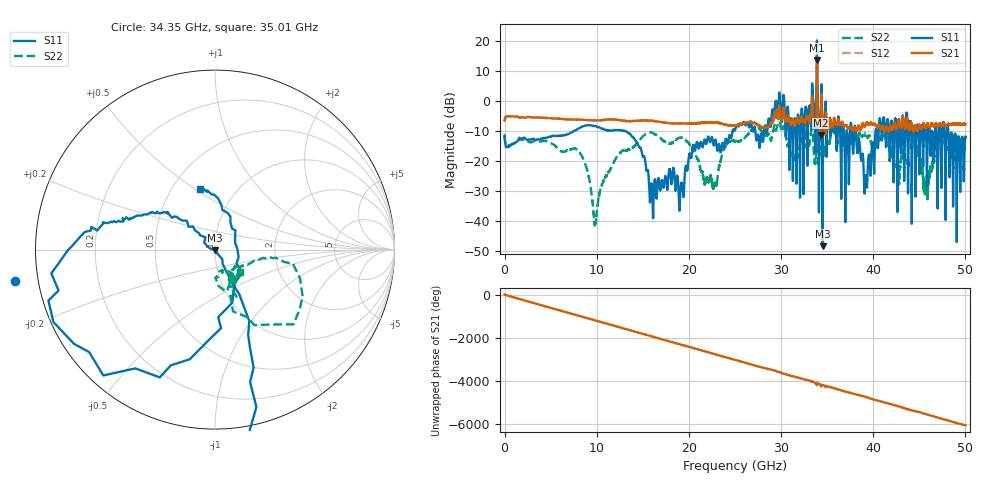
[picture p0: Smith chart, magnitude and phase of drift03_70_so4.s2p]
!Created with skrf (http://scikit-rf.org).
# Hz S RI R 50.0
!freq ReS11 ImS11 ReS21 ImS21 ReS12 ImS12 ReS22 ImS22
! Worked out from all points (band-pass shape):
!   10001 points, 300 kHz to 50 GHz, reference 50 ohm
!   highest |S21| = 13.57 dB at 33.9 GHz (marker M1); lowest = -11.3 dB at 34.32 GHz (marker M2)
!   |S21| within 3 dB of the highest: 33.89023 GHz to 33.90445 GHz (14.21 MHz wide, 0.0419 % of centre)
!   lowest |S11| = -48.3 dB at 34.5 GHz (marker M3), VSWR 1.01, Z = 50 - j0.382 ohm
!   |S11| at or under -10 dB: start of sweep to 7.485 GHz; 13.13 GHz to 24.74 GHz (11.61 GHz wide, 61.3 % of centre); 38.09 GHz to 40.25 GHz (2.159 GHz wide, 5.51 % of centre) (the widest 3 of 49)
!   |S22| runs from -41.4 to 6.0 dB; largest |S21 - S12| = 0.35
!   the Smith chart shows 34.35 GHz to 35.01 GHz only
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300000  -0.2381 -0.1236  0.4678 0.0802  0.4659 0.081  -0.2359 -0.1274
1.440291e9  0.21 0.0648  -0.5475 -0.0292  -0.5479 -0.0294  0.2114 -0.00401
2.915283e9  -0.2123 -0.0877  0.5342 0.0512  0.5347 0.0513  -0.2018 0.0401
4.415274e9  0.2058 0.1322  -0.5222 -0.0424  -0.5219 -0.0419  0.1986 -0.0873
8.33525e9  0.2887 -0.2337  0.1461 0.4661  0.1464 0.4661  -0.0727 -0.1014
9.840241e9  -0.3647 0.1253  -0.143 -0.4535  -0.1431 -0.4539  0.00878 0.00197
1.115523e10  0.3169 0.0808  -0.0433 0.4912  -0.0434 0.4911  -0.0474 0.038
1.263522e10  -0.3125 -0.0945  0.0303 -0.4743  0.0307 -0.4753  0.0765 -0.1193
1.66702e10  0.0271 0.0434  -0.3781 0.2533  -0.3783 0.2536  -0.1288 -0.22
1.787519e10  0.0689 -0.024  0.4292 0.0123  0.4296 0.0123  -0.0381 0.1908
2.278016e10  -0.00838 0.203  -0.3031 0.3256  -0.304 0.3237  -0.0317 0.0244
2.500015e10  -0.3272 -0.0146  -0.2553 -0.297  -0.2539 -0.2985  -0.2129 0.0289
2.895013e10  -0.3224 0.4249  -0.2922 0.3258  -0.3048 0.2888  0.0625 0.2223
3.006512e10  0.3995 0.2638  0.4508 -0.1981  0.4534 -0.1829  0.1753 -0.2973
3.171011e10  -0.0929 0.1836  -0.3642 0.3597  -0.364 0.3561  0.0665 0.1605
3.33351e10  0.6327 -0.8141  0.2539 -0.8446  0.2567 -0.8254  -0.1849 -0.4241
3.38951e10  -2.458 -9.934  -4.703 0.8098  -4.405 0.9919  0.5122 1.933
3.432009e10  -0.7753 -0.00235  -0.1826 0.2006  -0.2437 0.1814  0.143 -0.0771
3.449509e10  0.000282 -0.00382  -0.4595 0.2985  -0.4222 0.2726  0.1949 -0.0774
3.918006e10  0.0557 0.016  0.2098 -0.3498  0.2201 -0.3402  -0.2673 -0.1332
4.167005e10  -0.2114 0.302  0.3152 -0.002  0.3154 0.00644  -0.1872 -0.00948
5e10  -0.1204 -0.2267  0.1421 0.3844  0.1436 0.382  -0.0518 -0.1442
